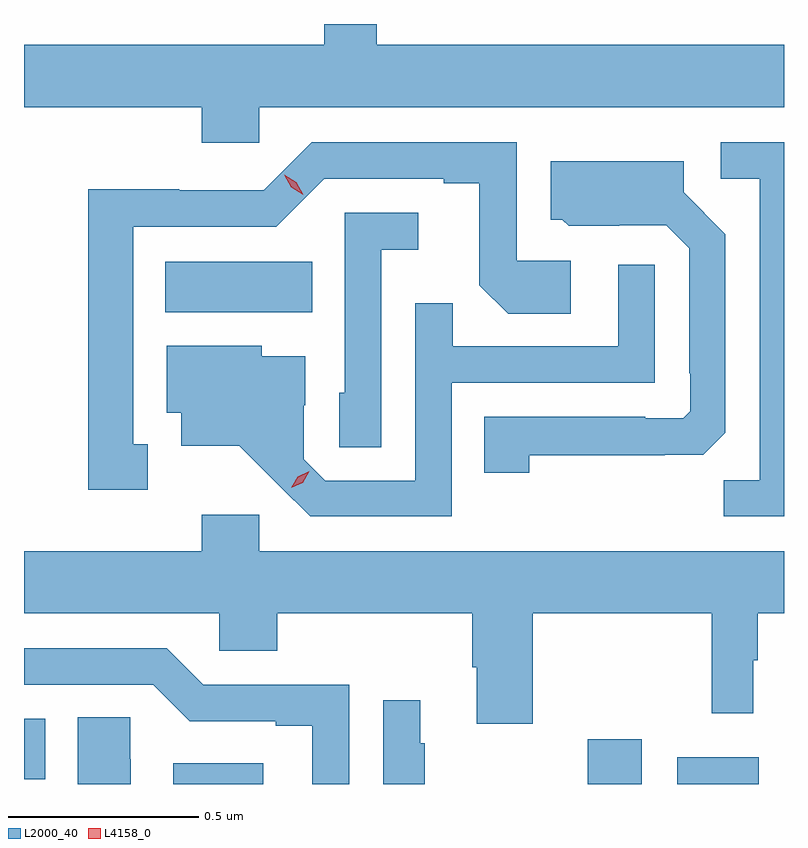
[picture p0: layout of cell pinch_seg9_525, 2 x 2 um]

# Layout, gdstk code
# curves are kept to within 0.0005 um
import gdstk
lib = gdstk.Library(unit=1e-6, precision=1e-09)
def R(c, l, rs):  # rectangles x0, y0, x1, y1
    for r in rs: c.add(gdstk.rectangle(r[:2], r[2:], *l))
def P(c, l, *ps):  # polygons
    for p in ps: c.add(gdstk.Polygon(p, *l))
L2000_40 = (2000, 40)
L4158_0 = (4158, 0)

pinch_seg9_525 = lib.new_cell('pinch_seg9_525')
R(pinch_seg9_525, L2000_40, [(277.916,1201.299,278.152,1201.354), (279.007,1201.299,279.148,1201.417), (279.242,1201.299,279.457,1201.369), (277.523,1201.312,277.579,1201.471), (277.895,1202.54,278.282,1202.674)])
P(pinch_seg9_525, L2000_40, [(278.142,1203.08),(279.523,1203.08),(279.523,1203.244),(278.451,1203.244),(278.451,1203.299),(278.313,1203.299),(278.313,1203.244),(277.523,1203.244),(277.523,1203.08),(277.991,1203.08),(277.991,1202.987),(278.142,1202.987)],
  [(279.523,1202.988),(279.357,1202.988),(279.357,1202.892),(279.459,1202.892),(279.459,1202.099),(279.364,1202.099),(279.364,1202.004),(279.523,1202.004)],
  [(277.849,1202.193),(277.81,1202.193),(277.81,1202.766),(278.187,1202.766),(278.313,1202.892),(278.627,1202.892),(278.627,1202.88),(278.721,1202.88),(278.721,1202.612),(278.797,1202.536),(278.962,1202.536),(278.962,1202.676),(278.82,1202.676),(278.82,1202.988),(278.28,1202.988),(278.154,1202.862),(277.932,1202.862),(277.932,1202.864),(277.692,1202.864),(277.692,1202.073),(277.849,1202.073)],
  [(278.853,1202.164),(279.209,1202.164),(279.209,1202.165),(279.31,1202.165),(279.369,1202.224),(279.369,1202.746),(279.259,1202.856),(279.259,1202.938),(278.909,1202.938),(278.909,1202.784),(278.94,1202.784),(278.956,1202.768),(279.09,1202.768),(279.09,1202.769),(279.213,1202.769),(279.273,1202.709),(279.273,1202.38),(279.276,1202.38),(279.276,1202.28),(279.258,1202.262),(279.158,1202.262),(279.158,1202.265),(278.734,1202.265),(278.734,1202.118),(278.853,1202.118)],
  [(278.463,1202.705),(278.56,1202.705),(278.56,1202.802),(278.367,1202.802),(278.367,1202.328),(278.352,1202.328),(278.352,1202.185),(278.463,1202.185)],
  [(278.649,1202.355),(279.183,1202.355),(279.183,1202.665),(279.087,1202.665),(279.087,1202.451),(278.651,1202.451),(278.651,1202.564),(278.553,1202.564),(278.553,1202.097),(278.316,1202.097),(278.259,1202.154),(278.259,1202.296),(278.263,1202.296),(278.263,1202.425),(278.148,1202.425),(278.148,1202.452),(277.898,1202.452),(277.898,1202.276),(277.937,1202.276),(277.937,1202.189),(278.089,1202.189),(278.276,1202.004),(278.649,1202.004)],
  [(278.862,1201.748),(279.333,1201.748),(279.333,1201.485),(279.442,1201.485),(279.442,1201.625),(279.454,1201.625),(279.454,1201.748),(279.523,1201.748),(279.523,1201.912),(278.142,1201.912),(278.142,1202.008),(277.991,1202.008),(277.991,1201.912),(277.523,1201.912),(277.523,1201.748),(278.037,1201.748),(278.037,1201.65),(278.189,1201.65),(278.189,1201.748),(278.702,1201.748),(278.702,1201.606),(278.714,1201.606),(278.714,1201.458),(278.862,1201.458)],
  [(278.379,1201.56),(277.995,1201.56),(277.899,1201.656),(277.523,1201.656),(277.523,1201.56),(277.863,1201.56),(277.959,1201.464),(278.186,1201.464),(278.186,1201.452),(278.282,1201.452),(278.282,1201.299),(278.379,1201.299)],
  [(278.578,1201.406),(278.566,1201.406),(278.566,1201.519),(278.469,1201.519),(278.469,1201.299),(278.578,1201.299)],
  [(277.804,1201.364),(277.803,1201.364),(277.803,1201.475),(277.664,1201.475),(277.664,1201.299),(277.804,1201.299)])
P(pinch_seg9_525, L4158_0, [(278.226,1202.078),(278.226,1202.078),(278.243,1202.107),(278.274,1202.122),(278.274,1202.122),(278.274,1202.122),(278.257,1202.092),(278.226,1202.078)],
  [(278.258,1202.85),(278.226,1202.869),(278.208,1202.902),(278.208,1202.902),(278.208,1202.902),(278.24,1202.883),(278.258,1202.85),(278.258,1202.85)])

lib.write_gds('pinch_seg9_525.gds')
